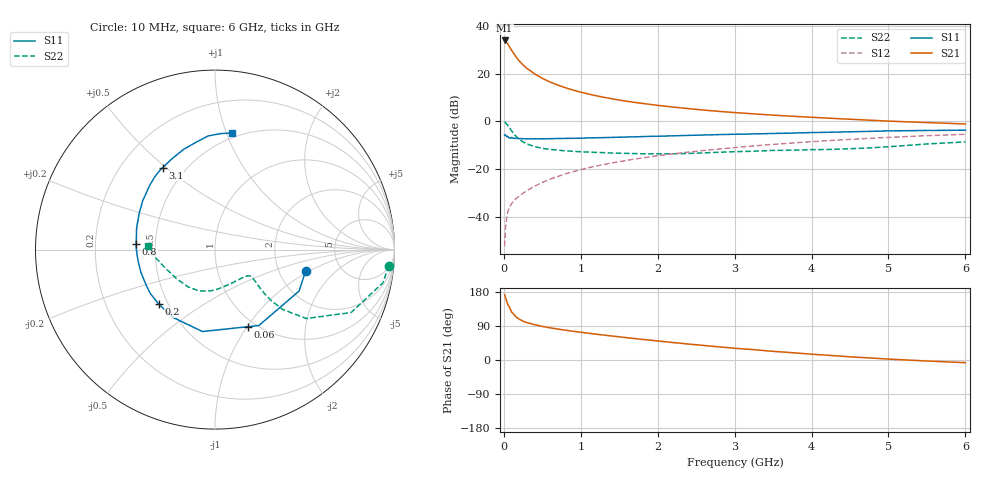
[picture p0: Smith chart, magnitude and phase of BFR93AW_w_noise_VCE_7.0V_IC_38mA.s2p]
! Infineon Technologies  Discrete & RF Semiconductors
! BFR93AW
! VCE =  7.0 V,  IC =  38 mA
! Common Emitter S-Parameters:  Jan 2017
# GHz  S  MA  R  50
!  f  S11  S21  S12  S22
! GHz  MAG  ANG  MAG  ANG  MAG  ANG  MAG  ANG
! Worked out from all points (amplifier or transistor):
!   77 points, 10 MHz to 6 GHz, reference 50 ohm
!   highest |S21| = 34.0 dB at 10 MHz (marker M1)
!   |S21| within 3 dB of that: start of sweep to 79.33 MHz
!   unconditionally stable (mu >= 1): 554.1 MHz to 2.021 GHz
!   at 130 MHz: K = 0.55, MSG = 30.9 dB, |S12| = -33.4 dB
!   at 2.2 GHz: K = 0.99, MSG = 9.8 dB, |S12| = -13.6 dB
!   at 6 GHz: K = 0.87, MSG = 2.2 dB, |S12| = -5.4 dB
!   lowest NFmin = 1.99 dB at 450 MHz
!   S11 on the Smith chart (normalised r, x): 10 MHz: 2.83, -0.91; 60 MHz: 0.92, -1.01; 200 MHz: 0.45, -0.33; 800 MHz: 0.39, +0.03; 3.1 GHz: 0.38, +0.49; 6 GHz: 0.46, +1.05
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0.01  0.5191 -13.0  50.35 172.1  0.0024 82.8  0.9721 -5.3
0.02  0.5224 -26.2  49.78 165.4  0.0055 88.4  0.9536 -11.2
0.05  0.4885 -60.0  42.9 146.9  0.0125 68.8  0.8356 -24.8
0.06  0.4665 -67.1  40.29 143.8  0.0137 66.8  0.7933 -26.8
0.1  0.4617 -98.7  31.48 126.7  0.0187 61.6  0.6363 -37.1
0.15  0.4443 -121.6  23.71 115.1  0.0234 59.6  0.5028 -41.5
0.2  0.4363 -136.0  18.71 107.8  0.027 61.0  0.4223 -42.2
0.25  0.4355 -145.7  15.39 102.4  0.0313 62.2  0.3722 -41.7
0.3  0.4315 -152.9  12.99 98.7  0.0349 63.7  0.3362 -40.7
0.4  0.4318 -163.2  9.97 92.9  0.0437 66.6  0.2963 -38.8
0.5  0.4324 -170.2  8.042 88.6  0.0523 69.2  0.2729 -37.5
0.6  0.4348 -175.7  6.76 84.9  0.0611 69.0  0.2589 -36.8
0.7  0.4383 179.8  5.819 81.7  0.0697 70.8  0.249 -36.7
0.8  0.4409 175.7  5.119 78.6  0.0793 71.0  0.2415 -37.2
0.9  0.4423 172.2  4.558 75.8  0.0883 70.6  0.2361 -38.2
1.1  0.4511 165.7  3.773 70.7  0.1067 70.6  0.2277 -40.9
1.5  0.4672 155.0  2.819 61.2  0.1432 68.8  0.2149 -49.3
2.1  0.494 141.5  2.092 48.2  0.1995 64.7  0.2091 -67.8
3.1  0.5418 122.5  1.501 29.5  0.292 55.8  0.2339 -99.9
4.1  0.5886 106.0  1.201 14.0  0.3848 45.8  0.2567 -129.1
5.1  0.6362 92.2  1.003 1.4  0.4706 34.9  0.3022 -162.5
6  0.6567 81.7  0.886 -7.1  0.5381 24.8  0.3728 176.7
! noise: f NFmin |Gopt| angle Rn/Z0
0.45  1.99  0.22  179  0.16
0.9  2.27  0.28  -171  0.17
1.9  3.33  0.52  -133  0.34
2.4  4.02  0.56  -123  0.63
